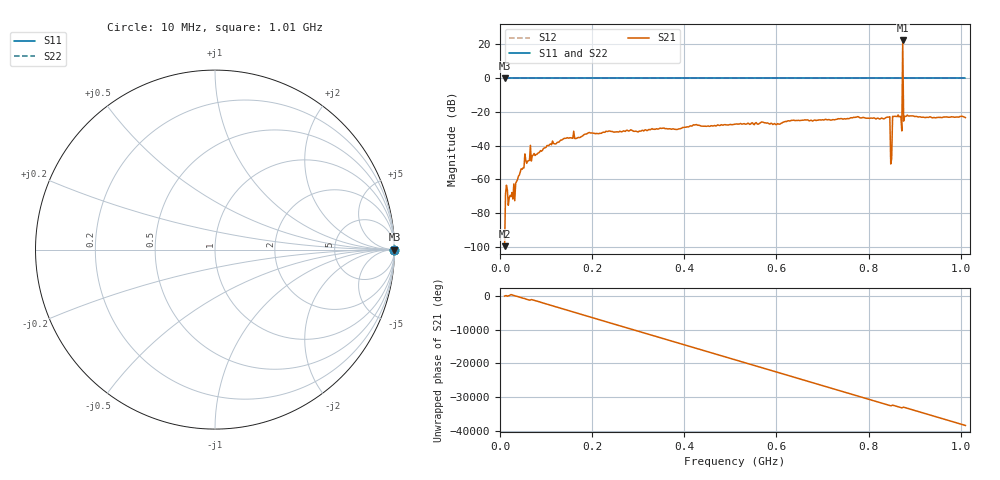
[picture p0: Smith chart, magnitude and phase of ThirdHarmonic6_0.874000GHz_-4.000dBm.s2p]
! 8/16/2025 4:49:29 AM
! C:\ANRITSUVNA\TEMP\TEMP.S2P
! CHANNEL.1
! TR.MEASUREMENT
! RAW.DATA
! RF.CORRECTION.OFF
! AVERAGING.OFF
! IF.BANDWIDTH: 5KHZ
! SWEEPTYPE:  FREQ.SWEEP(Linear)
! Reference Plane Port Info
! PORT:  PORT1  PORT2
! DISTANCE:  0  m  0  m
! TIME:  0  s  0  s
! PHASE.OFFSET:  0  deg.  0  deg.
! LOSS:  0  dB  0  dB
! REF.LOSS:  0  dB  0  dB
! REF.FREQ:  0  Hz  0  Hz
! Power Info
! POWER:  -20  dBm  -20  dBm
! EFF.POWER:  -20  dBm  -20  dBm
! SOURCE.ATTEN:  0  dB  0  dB
! TEST.ATTEN:  0  dB  0  dB
# GHZ S RI R 50.0
! FREQ.GHZ  S11RE  S11IM  S21RE  S21IM  S12RE  S12IM  S22RE  S22IM
!; PortSelection: Port_12
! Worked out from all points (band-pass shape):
!   501 points, 10 MHz to 1.01 GHz, reference 50 ohm
!   highest |S21| = 22.33 dB at 874 MHz (marker M1); lowest = -99.6 dB at 10 MHz (marker M2)
!   |S21| within 3 dB of the highest: 873.8881 MHz to 874.1255 MHz (237.3 kHz wide, 0.0272 % of centre)
!   lowest |S11| = 0.0 dB at 10 MHz (marker M3)
!   |S11| at or under -10 dB: nowhere
!   |S22| runs from 0.0 to 0.0 dB; largest |S21 - S12| = 13
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0.01  1 0  -3.8e-06 -9.7e-06  1 0  1 0
0.016  1 0  -0.000408 -0.000267  1 0  1 0
0.022  1 0  -0.000305 -0.000131  1 0  1 0
0.028  1 0  -0.000258 -2.49e-05  1 0  1 0
0.05  1 0  0.00211 -0.000548  1 0  1 0
0.07  1 0  -0.00162 -0.00463  1 0  1 0
0.142  1 0  -0.0151 -0.00637  1 0  1 0
0.178  1 0  -0.0183 -0.0048  1 0  1 0
0.344  1 0  0.0307 -0.00475  1 0  1 0
0.51  1 0  -0.0419 0.0112  1 0  1 0
0.678  1 0  -0.0168 -0.0507  1 0  1 0
0.842  1 0  -0.0493 0.0491  1 0  1 0
0.844  1 0  0.0402 0.0574  1 0  1 0
0.846  1 0  0.065 -0.03  1 0  1 0
0.852  1 0  -0.00576 0.0732  1 0  1 0
0.856  1 0  0.0255 -0.0693  1 0  1 0
0.868  1 0  -0.0708 0.0181  1 0  1 0
0.87  1 0  0.00729 0.0723  1 0  1 0
0.874  1 0  -1.491 12.99  1 0  1 0
0.878  1 0  -0.0395 0.0624  1 0  1 0
0.88  1 0  0.0542 0.0495  1 0  1 0
1.01  1 0  -0.0603 -0.0302  1 0  1 0
